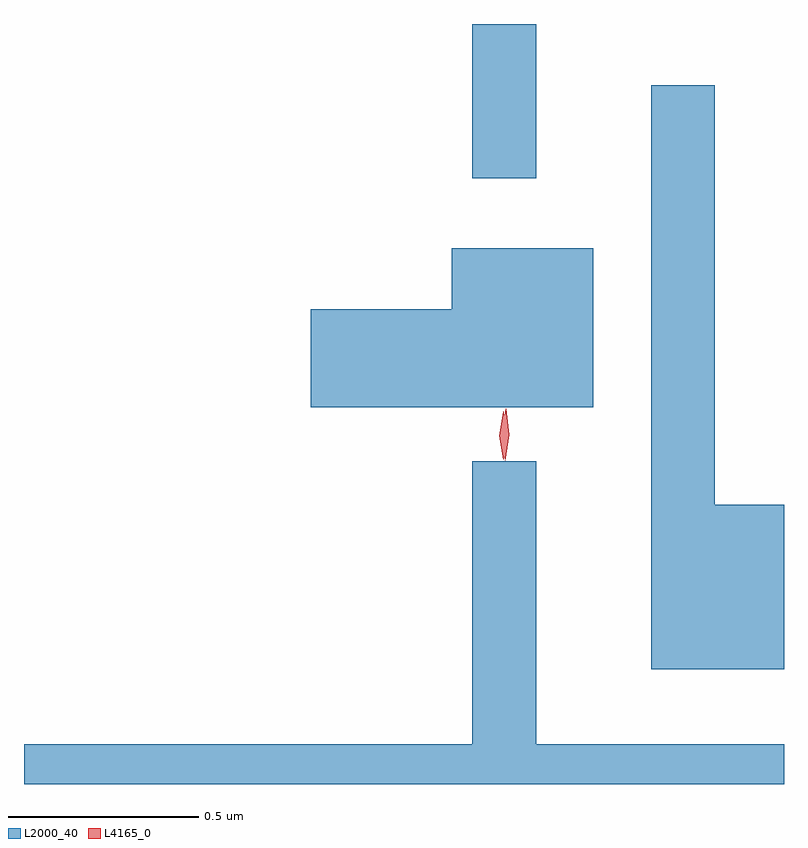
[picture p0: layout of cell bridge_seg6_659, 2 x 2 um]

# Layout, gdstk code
import gdstk
lib = gdstk.Library(unit=1e-6, precision=1e-09)
def R(c, l, rs):  # rectangles x0, y0, x1, y1
    for r in rs: c.add(gdstk.rectangle(r[:2], r[2:], *l))
def P(c, l, *ps):  # polygons
    for p in ps: c.add(gdstk.Polygon(p, *l))
L2000_40 = (2000, 40)
L4165_0 = (4165, 0)

bridge_seg6_659 = lib.new_cell('bridge_seg6_659')
R(bridge_seg6_659, L2000_40, [(200.921,1609.513,201.089,1609.919)])
P(bridge_seg6_659, L2000_40, [(201.741,1608.654),(201.559,1608.654),(201.559,1609.758),(201.391,1609.758),(201.391,1608.221),(201.741,1608.221)],
  [(201.239,1609.329),(200.866,1609.329),(200.866,1609.169),(200.496,1609.169),(200.496,1608.911),(201.239,1608.911)],
  [(201.741,1608.024),(201.089,1608.024),(201.089,1608.768),(200.921,1608.768),(200.921,1608.024),(199.741,1608.024),(199.741,1607.919),(201.741,1607.919)])
P(bridge_seg6_659, L4165_0, [(201.007,1608.77),(200.999,1608.838),(201.009,1608.906),(201.009,1608.906),(201.01,1608.906),(201.018,1608.838),(201.008,1608.77),(201.008,1608.77)],
  [(201.002,1608.773),(201.002,1608.773),(200.992,1608.836),(201.002,1608.899),(201.002,1608.9),(201.003,1608.899),(201.012,1608.836),(201.003,1608.773)])

lib.write_gds('bridge_seg6_659.gds')
